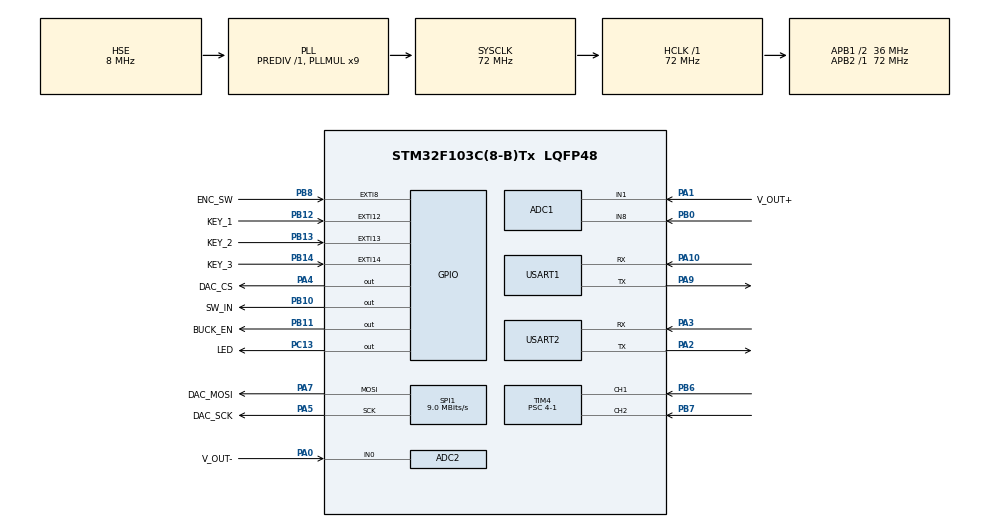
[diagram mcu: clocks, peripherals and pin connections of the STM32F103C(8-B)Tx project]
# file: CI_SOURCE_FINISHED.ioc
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ADC1.Channel-0\#ChannelRegularConversion=ADC_CHANNEL_1
ADC1.Channel-1\#ChannelRegularConversion=ADC_CHANNEL_8
ADC1.ExternalTrigConv=ADC_EXTERNALTRIGCONV_T3_TRGO
ADC1.Mode=ADC_DUALMODE_REGSIMULT
ADC1.NbrOfConversion=2
ADC1.NbrOfConversionFlag=1
ADC1.Rank-0\#ChannelRegularConversion=1
ADC1.Rank-1\#ChannelRegularConversion=2
ADC1.SamplingTime-0\#ChannelRegularConversion=ADC_SAMPLETIME_71CYCLES_5
ADC1.SamplingTime-1\#ChannelRegularConversion=ADC_SAMPLETIME_71CYCLES_5
ADC1.master=1
ADC2.Channel-0\#ChannelRegularConversion=ADC_CHANNEL_0
ADC2.Mode=ADC_DUALMODE_REGSIMULT
ADC2.NbrOfConversion=1
ADC2.NbrOfConversionFlag=1
ADC2.Rank-0\#ChannelRegularConversion=1
ADC2.SamplingTime-0\#ChannelRegularConversion=ADC_SAMPLETIME_71CYCLES_5
Dma.ADC1.0.Direction=DMA_PERIPH_TO_MEMORY
Dma.ADC1.0.Instance=DMA1_Channel1
Dma.ADC1.0.MemDataAlignment=DMA_MDATAALIGN_WORD
Dma.ADC1.0.MemInc=DMA_MINC_ENABLE
Dma.ADC1.0.Mode=DMA_CIRCULAR
Dma.ADC1.0.PeriphDataAlignment=DMA_PDATAALIGN_WORD
Dma.ADC1.0.PeriphInc=DMA_PINC_DISABLE
Dma.ADC1.0.Priority=DMA_PRIORITY_LOW
Dma.Request0=ADC1
Mcu.Family=STM32F1
Mcu.Name=STM32F103C(8-B)Tx
Mcu.Package=LQFP48
NVIC.DMA1_Channel1_IRQn=true\:0\:0\:false\:false\:true\:false\:true\:true
NVIC.EXTI15_10_IRQn=true\:7\:0\:true\:false\:true\:true\:true\:true
NVIC.EXTI9_5_IRQn=true\:7\:0\:true\:false\:true\:true\:true\:true
NVIC.PriorityGroup=NVIC_PRIORITYGROUP_4
NVIC.USART1_IRQn=true\:0\:0\:false\:false\:true\:true\:true\:true
NVIC.USART2_IRQn=true\:0\:0\:false\:false\:true\:true\:true\:true
PA0-WKUP.GPIO_Label=V_OUT-
PA0-WKUP.Signal=ADCx_IN0
PA1.GPIO_Label=V_OUT+
PA1.Signal=ADCx_IN1
PA10.Mode=Asynchronous
PA10.Signal=USART1_RX
PA13.Mode=Serial_Wire
PA13.Signal=SYS_JTMS-SWDIO
PA14.Mode=Serial_Wire
PA14.Signal=SYS_JTCK-SWCLK
PA2.Mode=Asynchronous
PA2.Signal=USART2_TX
PA3.Mode=Asynchronous
PA3.Signal=USART2_RX
PA4.GPIO_Label=DAC_CS
PA4.GPIO_Speed=GPIO_SPEED_FREQ_LOW
PA4.PinState=GPIO_PIN_SET
PA4.Signal=GPIO_Output
PA5.GPIO_Label=DAC_SCK
PA5.Mode=TX_Only_Simplex_Unidirect_Master
PA5.Signal=SPI1_SCK
PA7.GPIO_Label=DAC_MOSI
PA7.Mode=TX_Only_Simplex_Unidirect_Master
PA7.Signal=SPI1_MOSI
PA9.Mode=Asynchronous
PA9.Signal=USART1_TX
PB0.Signal=ADCx_IN8
PB10.GPIO_Label=SW_IN
PB10.Signal=GPIO_Output
PB11.GPIO_Label=BUCK_EN
PB11.PinState=GPIO_PIN_RESET
PB11.Signal=GPIO_Output
PB12.GPIO_Label=KEY_1
PB12.GPIO_ModeDefaultEXTI=GPIO_MODE_IT_FALLING
PB12.Signal=GPXTI12
PB13.GPIO_Label=KEY_2
PB13.Signal=GPXTI13
PB14.GPIO_Label=KEY_3
PB14.GPIO_ModeDefaultEXTI=GPIO_MODE_IT_FALLING
PB14.Signal=GPXTI14
PB6.GPIO_PuPd=GPIO_PULLUP
PB6.Signal=S_TIM4_CH1
PB7.GPIO_PuPd=GPIO_PULLUP
PB7.Signal=S_TIM4_CH2
PB8.GPIO_Label=ENC_SW
PB8.GPIO_ModeDefaultEXTI=GPIO_MODE_IT_FALLING
PB8.Signal=GPXTI8
PC13-TAMPER-RTC.GPIO_Label=LED
PC13-TAMPER-RTC.PinState=GPIO_PIN_SET
PC13-TAMPER-RTC.Signal=GPIO_Output
PD0-OSC_IN.Mode=HSE-External-Oscillator
PD0-OSC_IN.Signal=RCC_OSC_IN
PD1-OSC_OUT.Mode=HSE-External-Oscillator
PD1-OSC_OUT.Signal=RCC_OSC_OUT
ProjectManager.HeapSize=0x200
ProjectManager.StackSize=0x400
ProjectManager.TargetToolchain=CMake
RCC.ADCPresc=RCC_ADCPCLK2_DIV6
RCC.AHBFreq_Value=72000000
RCC.APB1CLKDivider=RCC_HCLK_DIV2
RCC.APB1Freq_Value=36000000
RCC.APB1TimFreq_Value=72000000
RCC.APB2Freq_Value=72000000
RCC.APB2TimFreq_Value=72000000
RCC.HCLKFreq_Value=72000000
RCC.PLLMUL=RCC_PLL_MUL9
RCC.PLLSourceVirtual=RCC_PLLSOURCE_HSE
RCC.SYSCLKFreq_VALUE=72000000
RCC.SYSCLKSource=RCC_SYSCLKSOURCE_PLLCLK
RCC.USBFreq_Value=72000000
SH.ADCx_IN0.0=ADC2_IN0,IN0
SH.ADCx_IN1.0=ADC1_IN1,IN1
SH.ADCx_IN8.0=ADC1_IN8,IN8
SH.S_TIM4_CH1.0=TIM4_CH1,Encoder_Interface
SH.S_TIM4_CH2.0=TIM4_CH2,Encoder_Interface
SPI1.BaudRatePrescaler=SPI_BAUDRATEPRESCALER_8
SPI1.CLKPhase=SPI_PHASE_1EDGE
SPI1.CalculateBaudRate=9.0 MBits/s
SPI1.DataSize=SPI_DATASIZE_16BIT
SPI1.Direction=SPI_DIRECTION_2LINES
SPI1.Mode=SPI_MODE_MASTER
SPI1.VirtualType=VM_MASTER
TIM3.Period=100-1
TIM3.Prescaler=72-1
TIM3.TIM_MasterOutputTrigger=TIM_TRGO_UPDATE
TIM4.ClockDivision=TIM_CLOCKDIVISION_DIV2
TIM4.EncoderMode=TIM_ENCODERMODE_TI12
TIM4.IC1Polarity=TIM_ICPOLARITY_FALLING
TIM4.IC2Polarity=TIM_ICPOLARITY_FALLING
TIM4.Period=65536-1
TIM4.Prescaler=4-1
USART1.VirtualMode=VM_ASYNC
USART2.VirtualMode=VM_ASYNC
VP_TIM3_VS_ClockSourceINT.Mode=Internal
board=custom

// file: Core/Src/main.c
/* USER CODE BEGIN Header */
/**
  ******************************************************************************
  * @file           : main.c
  * @brief          : Main program body
  ******************************************************************************
  * @attention
  *
  * Copyright (c) 2026 STMicroelectronics.
  * All rights reserved.
  *
  * This software is licensed under terms that can be found in the LICENSE file
  * in the root directory of this software component.
  * If no LICENSE file comes with this software, it is provided AS-IS.
  *
  ******************************************************************************
  */
/* USER CODE END Header */
#include "main.h"
#include "adc.h"
#include "dma.h"
#include "spi.h"
#include "tim.h"
#include "usart.h"
#include "gpio.h"

/* USER CODE BEGIN Includes */
#include "button.h"
#include "dsp_DAC.h"
#include "key_service.h"
#include "PID.h"
#include "dsp_ADC.h"
#include "TJC_HMI.h"
#include "global_value.h"
#include "App_control.h"
/* USER CODE END Includes */

/* USER CODE BEGIN PD */
#define SEND_TIME 100  //发送间隔
/* USER CODE END PD */

void SystemClock_Config(void);

int main(void)
{

  /* MCU Configuration--------------------------------------------------------*/

  /* Reset of all peripherals, Initializes the Flash interface and the Systick. */
  HAL_Init();

  /* Configure the system clock */
  SystemClock_Config();

  /* Initialize all configured peripherals */
  MX_GPIO_Init();
  MX_DMA_Init();
  MX_ADC1_Init();
  MX_USART1_UART_Init();
  MX_USART2_UART_Init();
  MX_ADC2_Init();
  MX_SPI1_Init();
  MX_TIM4_Init();
  MX_TIM3_Init();
  /* USER CODE BEGIN 2 */
  KEY_Init();
  ADC_Init();
  TJC_HMI_Init(&huart2);

  PID_Init();

  DAC_Init(&hspi1);       //初始化DAC

  I_set = 0.1f;
  DAC1_cmd = 0.1f;

  HAL_TIM_Encoder_Start(&htim4,TIM_CHANNEL_ALL);      //旋转编码器
  HAL_Delay(20);

  uint32_t last_tick = HAL_GetTick();
  /* USER CODE END 2 */

  /* Infinite loop */
  /* USER CODE BEGIN WHILE */
  while (1)
  {
    TJC_HMI_Process();
    Button_Process();
    Encoder_Process();
    Filter_Output();
    if (ADC_FLAG == 1) {
      if (Safe_flag == TJC_PROTECT_NORMAL || Safe_flag == TJC_PROTECT_SHORT_LIMIT) {
        BUCK_Loop();
        PID_Current_Loop();
      }
      ADC_FLAG = 0;
    }

    if (HAL_GetTick() - last_tick >= SEND_TIME) {
      last_tick = HAL_GetTick();
      Safe_control();
    }
    /* USER CODE END WHILE */

  }
}

void SystemClock_Config(void)
{
  RCC_OscInitTypeDef RCC_OscInitStruct = {0};
  RCC_ClkInitTypeDef RCC_ClkInitStruct = {0};
  RCC_PeriphCLKInitTypeDef PeriphClkInit = {0};

  /** Initializes the RCC Oscillators according to the specified parameters
  * in the RCC_OscInitTypeDef structure.
  */
  RCC_OscInitStruct.OscillatorType = RCC_OSCILLATORTYPE_HSE;
  RCC_OscInitStruct.HSEState = RCC_HSE_ON;
  RCC_OscInitStruct.HSEPredivValue = RCC_HSE_PREDIV_DIV1;
  RCC_OscInitStruct.HSIState = RCC_HSI_ON;
  RCC_OscInitStruct.PLL.PLLState = RCC_PLL_ON;
  RCC_OscInitStruct.PLL.PLLSource = RCC_PLLSOURCE_HSE;
  RCC_OscInitStruct.PLL.PLLMUL = RCC_PLL_MUL9;
  if (HAL_RCC_OscConfig(&RCC_OscInitStruct) != HAL_OK)
  {
    Error_Handler();
  }

  /** Initializes the CPU, AHB and APB buses clocks
  */
  RCC_ClkInitStruct.ClockType = RCC_CLOCKTYPE_HCLK|RCC_CLOCKTYPE_SYSCLK
                              |RCC_CLOCKTYPE_PCLK1|RCC_CLOCKTYPE_PCLK2;
  RCC_ClkInitStruct.SYSCLKSource = RCC_SYSCLKSOURCE_PLLCLK;
  RCC_ClkInitStruct.AHBCLKDivider = RCC_SYSCLK_DIV1;
  RCC_ClkInitStruct.APB1CLKDivider = RCC_HCLK_DIV2;
  RCC_ClkInitStruct.APB2CLKDivider = RCC_HCLK_DIV1;

  if (HAL_RCC_ClockConfig(&RCC_ClkInitStruct, FLASH_LATENCY_2) != HAL_OK)
  {
    Error_Handler();
  }
  PeriphClkInit.PeriphClockSelection = RCC_PERIPHCLK_ADC;
  PeriphClkInit.AdcClockSelection = RCC_ADCPCLK2_DIV6;
  if (HAL_RCCEx_PeriphCLKConfig(&PeriphClkInit) != HAL_OK)
  {
    Error_Handler();
  }
}

/* USER CODE BEGIN 4 */
void HAL_GPIO_EXTI_Callback(uint16_t GPIO_Pin) {
  Button_EXTI_Callback(GPIO_Pin);
}
/* USER CODE END 4 */

void Error_Handler(void)
{
  __disable_irq();
  while (1)
  {
  }
}
